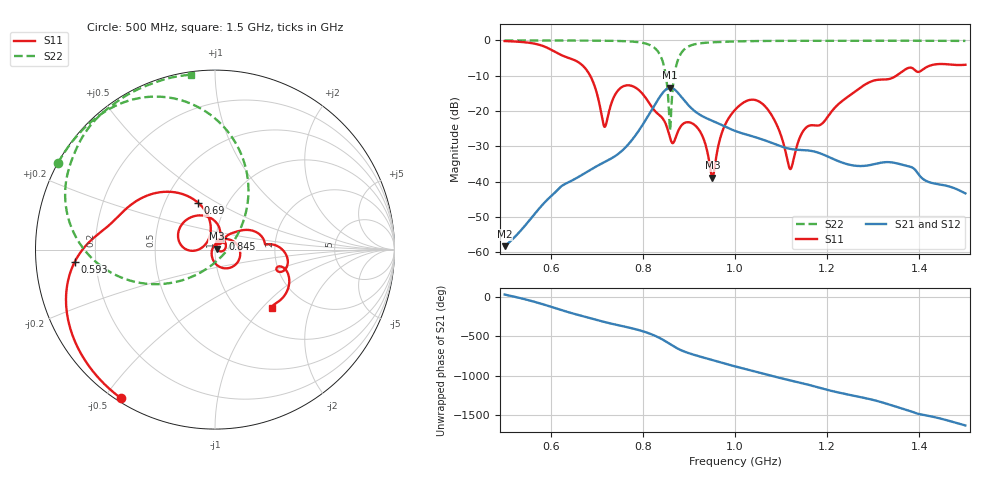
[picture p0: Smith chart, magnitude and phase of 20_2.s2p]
! TOUCHSTONE file generated by CST MICROWAVE STUDIO
! Date and time: Wed Oct 28 19:37:14 2020
! Project name: Scenario_1_Circular_Tissue_out_of_Line_v2.cst
! Parameters = {dy1=-17.3; L_HA=400; MT=2.54; Rad_Dielectric=30; Rad_Lower=7.3; Rad_Upper=30; a_HA=580; a_WG=246; b_HA=500; b_WG=121; c_HA=0; c_WG=187; d_feed=85; dx1=346; h_feed=15; h_lower=18; h_upper=40}
! Header version: 2018
! Port assignment regex: !\s*Touchstone port\s*([0-9]+)\s*=\s*(CST MWS port|CST DS port)\s*([0-9]+|Zmin|Zmax)\s*\(\"(.*)\"\)(\s*mode\s*([0-9]+))?.*
! Touchstone port assignment:
! Touchstone port 1 = CST MWS port 1 ("")
! Touchstone port 2 = CST MWS port 2 ("")
# GHz S DB R 50
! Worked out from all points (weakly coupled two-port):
!   1003 points, 500 MHz to 1.5 GHz, reference 50 ohm
!   highest |S21| = -13.38 dB at 859 MHz (marker M1); lowest = -58.2 dB at 500 MHz (marker M2)
!   lowest |S11| = -38.9 dB at 951 MHz (marker M3), VSWR 1.02, Z = 51 + j0.476 ohm
!   |S11| at or under -10 dB: 685.8 MHz to 1.35 GHz (664.2 MHz wide, 65.3 % of centre)
!   |S22| runs from -25.5 to 0.0 dB; largest |S21 - S12| = 8.9e-05
!   S11 on the Smith chart (normalised r, x): 500 MHz: 0.01, -0.55; 593 MHz: 0.12, -0.04; 690 MHz: 0.73, +0.41; 845 MHz: 1.08, +0.14; 1.5 GHz: 1.39, -1.13
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0.5  -0.18 -122.3  -58.23 33.8  -58.23 33.8  -0.01 151.1
0.593  -2.11 -175.0  -45.04 -107.8  -45.00 -107.9  -0.02 144.7
0.667  -6.83 136.1  -38.13 122.3  -38.13 122.3  -0.04 138.4
0.69  -11.14 109.8  -36.33 85.8  -36.33 85.8  -0.06 136.0
0.717  -24.46 142.7  -34.42 43.7  -34.42 43.7  -0.09 132.7
0.74  -15.31 177.4  -32.73 11.6  -32.73 11.6  -0.13 129.2
0.764  -12.73 147.2  -30.06 -19.4  -30.05 -19.4  -0.23 124.5
0.834  -20.93 67.9  -16.52 -152.4  -16.52 -152.4  -3.36 85.3
0.845  -22.45 55.9  -14.55 173.1  -14.55 173.1  -6.81 67.0
0.859  -27.52 48.1  -13.38 122.5  -13.38 122.5  -25.50 -40.3
0.87  -27.91 77.1  -14.01 83.1  -14.01 83.1  -8.61 -148.7
0.883  -24.19 68.7  -15.89 44.4  -15.89 44.4  -3.64 -173.3
0.922  -25.33 0.7  -20.88 -33.2  -20.88 -33.2  -0.86 156.8
0.951  -38.86 24.2  -22.76 -81.9  -22.76 -81.9  -0.53 148.3
0.973  -25.60 63.4  -24.05 -119.0  -24.05 -119.0  -0.41 144.2
1  -19.65 30.5  -25.60 -161.4  -25.60 -161.4  -0.29 140.2
1.064  -18.48 -61.3  -28.24 100.1  -28.24 100.1  -0.15 133.0
1.12  -36.41 160.7  -30.71 20.6  -30.71 20.6  -0.11 128.0
1.145  -26.29 60.5  -31.02 -14.1  -31.02 -14.1  -0.11 125.9
1.167  -23.99 36.5  -31.30 -48.5  -31.30 -48.5  -0.10 124.2
1.334  -10.93 5.6  -34.44 73.2  -34.44 73.2  -0.09 111.5
1.5  -6.88 -45.5  -43.28 165.2  -43.28 165.2  -0.14 97.9
